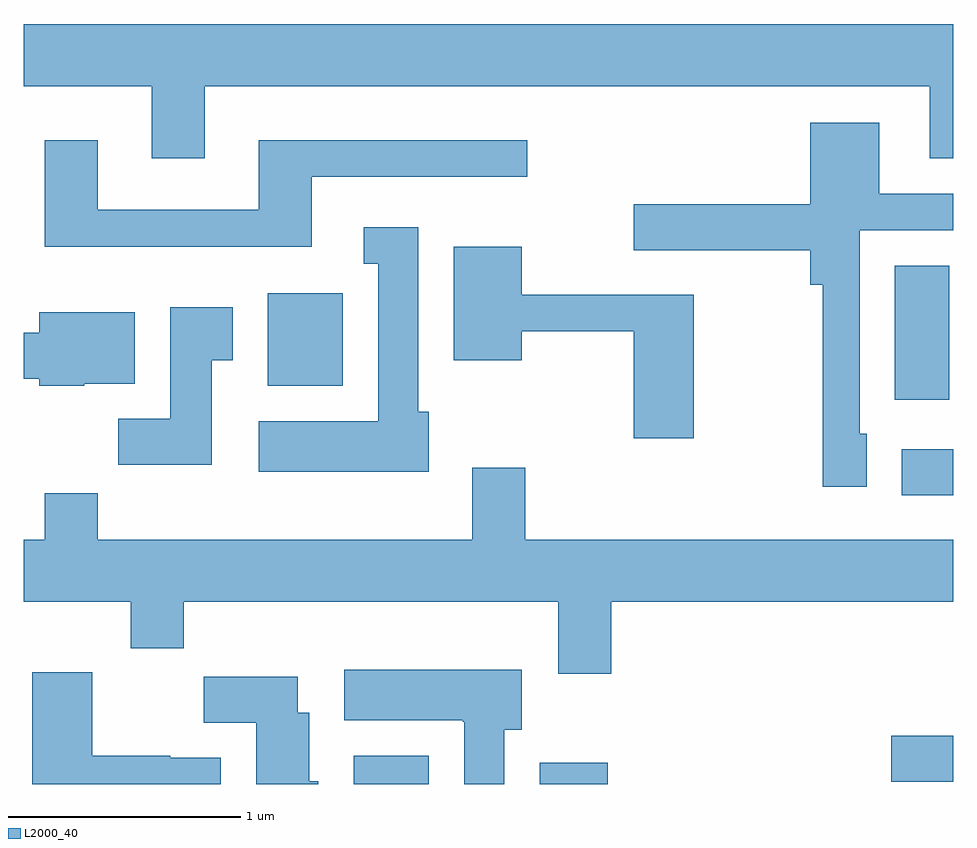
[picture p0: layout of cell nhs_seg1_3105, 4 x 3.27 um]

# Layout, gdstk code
import gdstk
lib = gdstk.Library(unit=1e-6, precision=1e-09)
def R(c, l, rs):  # rectangles x0, y0, x1, y1
    for r in rs: c.add(gdstk.rectangle(r[:2], r[2:], *l))
def P(c, l, *ps):  # polygons
    for p in ps: c.add(gdstk.Polygon(p, *l))
L2000_40 = (2000, 40)

nhs_seg1_3105 = lib.new_cell('nhs_seg1_3105')
R(nhs_seg1_3105, L2000_40, [(281.031,867.712,281.354,867.834), (281.831,867.712,282.124,867.804), (283.346,867.721,283.611,867.919), (283.391,868.956,283.611,869.154), (283.361,869.366,283.594,869.944), (280.661,869.426,280.984,869.824)])
P(nhs_seg1_3105, L2000_40, [(280.389,870.716),(283.511,870.716),(283.511,870.406),(283.611,870.406),(283.611,870.984),(279.611,870.984),(279.611,870.716),(280.161,870.716),(280.161,870.406),(280.389,870.406)],
  [(283.239,869.219),(283.209,869.219),(283.209,870.096),(283.611,870.096),(283.611,870.254),(283.294,870.254),(283.294,870.559),(282.996,870.559),(282.996,870.209),(282.236,870.209),(282.236,870.011),(282.996,870.011),(282.996,869.861),(283.051,869.861),(283.051,868.991),(283.239,868.991)],
  [(280.849,870.326),(281.778,870.326),(281.778,870.484),(280.621,870.484),(280.621,870.184),(279.929,870.184),(279.929,870.484),(279.701,870.484),(279.701,870.026),(280.849,870.026)],
  [(281.354,869.314),(281.309,869.314),(281.309,870.109),(281.073,870.109),(281.073,869.951),(281.136,869.951),(281.136,869.274),(280.621,869.274),(280.621,869.056),(281.354,869.056)],
  [(282.494,869.819),(281.754,869.819),(281.754,870.024),(281.461,870.024),(281.461,869.536),(281.754,869.536),(281.754,869.661),(282.236,869.661),(282.236,869.201),(282.494,869.201)],
  [(280.419,869.536),(280.509,869.536),(280.509,869.764),(280.241,869.764),(280.241,869.284),(280.016,869.284),(280.016,869.086),(280.419,869.086)],
  [(279.87,869.436),(280.089,869.436),(280.089,869.744),(279.676,869.744),(279.676,869.654),(279.611,869.654),(279.611,869.456),(279.676,869.456),(279.676,869.426),(279.87,869.426)],
  [(281.911,868.186),(282.139,868.186),(282.139,868.496),(283.611,868.496),(283.611,868.764),(281.769,868.764),(281.769,869.074),(281.541,869.074),(281.541,868.764),(279.929,868.764),(279.929,868.964),(279.701,868.964),(279.701,868.764),(279.611,868.764),(279.611,868.496),(280.071,868.496),(280.071,868.296),(280.299,868.296),(280.299,868.496),(281.911,868.496)],
  [(281.679,867.946),(281.754,867.946),(281.754,868.204),(280.991,868.204),(280.991,867.986),(281.5,867.986),(281.5,867.98),(281.506,867.98),(281.506,867.712),(281.679,867.712)],
  [(280.459,867.824),(280.24,867.824),(280.24,867.834),(279.904,867.834),(279.904,868.194),(279.646,868.194),(279.646,867.712),(280.459,867.712)],
  [(280.879,867.724),(280.839,867.724),(280.839,868.019),(280.789,868.019),(280.789,868.174),(280.386,868.174),(280.386,867.976),(280.611,867.976),(280.611,867.712),(280.879,867.712)])

lib.write_gds('nhs_seg1_3105.gds')
